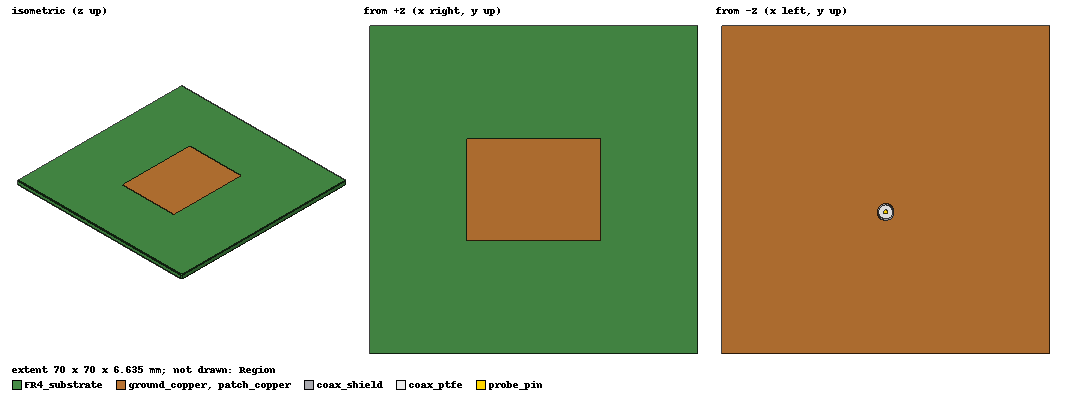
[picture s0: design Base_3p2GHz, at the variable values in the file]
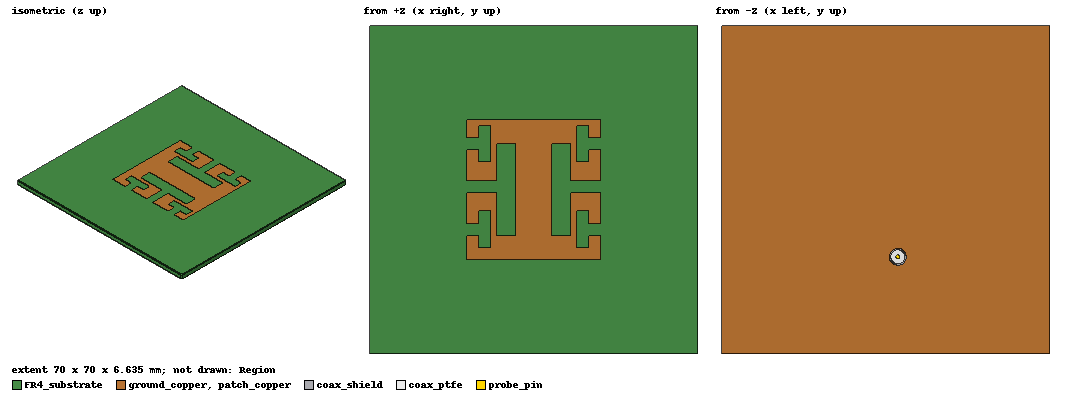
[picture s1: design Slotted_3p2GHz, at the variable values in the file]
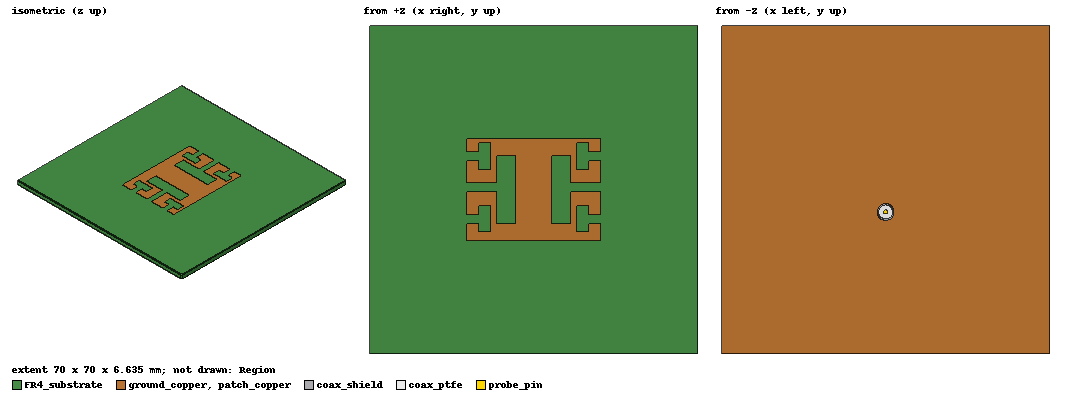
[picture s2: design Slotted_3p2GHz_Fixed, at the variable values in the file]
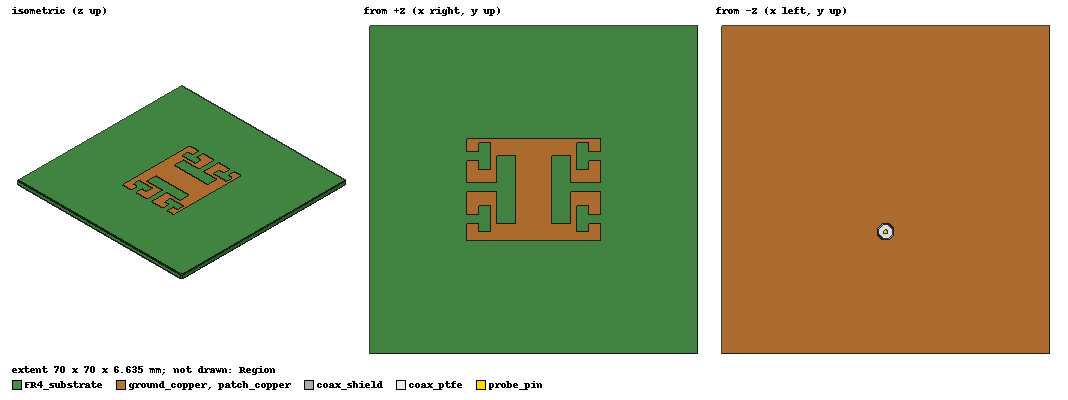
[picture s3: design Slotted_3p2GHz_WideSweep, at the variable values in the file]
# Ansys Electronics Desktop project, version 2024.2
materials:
  vacuum: permittivity=1
  FR4_4p3: permittivity=4.3 dielectric_loss_tangent=0.019
  pec: conductivity=1e+30
  Teflon (tm): permittivity=2.1 dielectric_loss_tangent=0.001

design Base_3p2GHz (HFSS, HFSS Hybrid Modal Network, model units mm)
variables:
  patch_W = 28.7mm  # patch width (x), paper's design equation for 3.2 GHz
  patch_L = 21.95mm  # patch length (y), paper's design equation for 3.2 GHz
  feed_in = 6.2mm  # probe distance from the radiating (bottom) edge (swept)
  feed_X = 0mm  # probe x (0 = centre line)
  feed_Y = -patch_L/2+feed_in  # probe y
  board_W = 70mm  # FR4 and ground width (x)
  board_L = 70mm  # FR4 and ground length (y)
  sub_H = 1.6mm  # FR4 thickness
  cu_T = 0.035mm  # copper thickness (assumed)
  pin_D = 0.9mm  # probe pin diameter (assumed)
  ptfe_D = 3mm  # coax dielectric diameter (assumed, about 50 ohm)
  shield_D = 3.6mm  # coax outer conductor diameter (assumed)
  coax_L = 5mm  # coax stub length below the ground
  air_pad = 25mm  # air-box padding (about lambda/4 at 3 GHz)
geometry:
  FR4_substrate [FR4_4p3] = box(corner=(-board_W/2, -board_L/2, 0mm), size=(board_W, board_L, sub_H))
  ground_copper [pec] = box(corner=(-board_W/2, -board_L/2, -cu_T), size=(board_W, board_L, cu_T))
  patch_copper [pec] = box(corner=(-patch_W/2, -patch_L/2, sub_H), size=(patch_W, patch_L, cu_T))
  probe_pin [pec] = cylinder(axis=Z, base_centre=(feed_X, feed_Y, -coax_L), radius=pin_D/2, height=coax_L+sub_H)
  coax_ptfe [Teflon (tm)] = cylinder(axis=Z, base_centre=(feed_X, feed_Y, -coax_L), radius=ptfe_D/2, height=coax_L)
  coax_shield [pec] = cylinder(axis=Z, base_centre=(feed_X, feed_Y, -coax_L), radius=shield_D/2, height=coax_L-cu_T)
  coax_ptfe_1 = coax_ptfe.copy()
  ground_copper.subtract(coax_ptfe_1)
  coax_ptfe_2 = coax_ptfe.copy()
  coax_shield.subtract(coax_ptfe_2)
  probe_pin_1 = probe_pin.copy()
  coax_ptfe.subtract(probe_pin_1)
  probe_pin_2 = probe_pin.copy()
  FR4_substrate.subtract(probe_pin_2)
  Region [vacuum] = region(absolute_offset: +X=air_pad, -X=air_pad, +Y=air_pad, -Y=air_pad, +Z=air_pad, -Z=0mm)
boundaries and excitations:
  Rad1: Radiation Objects=Region
  P1: Wave Port Faces=coax_ptfe.face(-z end) WavePortType=Modal NumModes=1 Modes{Mode1{CharImp=Zpi RenormImp=50ohm}}
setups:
  Setup1: HfssDriven Frequency=3.2GHz MaxDeltaS=0.02 MaximumPasses=15 MinimumPasses=1 MinimumConvergedPasses=1 PercentRefinement=30 BasisOrder=1 PortAccuracy=2 DrivenSolverType="Direct Solver"
    sweep Sweep: 2.5GHz to 4GHz step 0.005GHz; Type=Interpolating InterpTolerance=0.5 InterpMaxSolns=250 InterpUsePortImped=false PassivityErrorTolerance=0.0001
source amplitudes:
  P1:1: 1W 0deg
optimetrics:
  ParametricSetup1: Parametric Sim._Setups=[Setup1]
    sweep feed_in: LIN 5mm 7.5mm 0.5mm
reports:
  S Parameter Plot 1: dB(S(P1,P1)) vs Freq on Setup1 : Sweep [feed_in=all]; markers m1 at 3.12GHz, m2 at 3.115GHz, m3 at 3.125GHz, m4 at 3.11GHz, m5 at 3.125GHz, m6 at 3.105GHz, MY1 at y=-10.0302

design Slotted_3p2GHz (HFSS, HFSS Hybrid Modal Network, model units mm)
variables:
  cell = 1.3045mm  # mm per mesh cell of Fig. 1 (1.3045mm -> 28.7 x 30 mm patch)
  patch_W = 22*cell  # patch width (x)
  patch_L = 23*cell  # patch length (y)
  bar_W = 6*cell  # central bar between the two big slots
  T1_headW = 3*cell  # big T-slot head width
  T1_headL = 15*cell  # big T-slot head length
  T1_stemW = 2*cell  # big T-slot stem width
  axis_Y = 0.5*cell  # y of the big stems and symmetry axis of the small T-slots
  T2_x = 7*cell  # small T-slot head inner edge, distance from centre line
  T2_headW = 2*cell  # small T-slot head width
  T2_headL = 6*cell  # small T-slot head length
  T2_stemW = 2*cell  # small T-slot stem width
  T2_dY = 7*cell  # small T-slot centre offset from axis_Y (up and down)
  feed_dY = 0mm  # probe shift along +y from the Fig. 1 port (swept)
  feed_X = -2*cell  # probe x (Fig. 1 port cell)
  feed_Y = -11*cell+feed_dY  # probe y (Fig. 1 port is the centre of the bottom mesh row)
  board_W = 70mm  # FR4 and ground width (x)
  board_L = 70mm  # FR4 and ground length (y)
  sub_H = 1.6mm  # FR4 thickness
  cu_T = 0.035mm  # copper thickness (assumed)
  pin_D = 0.9mm  # probe pin diameter (assumed)
  ptfe_D = 3mm  # coax dielectric diameter (assumed, about 50 ohm)
  shield_D = 3.6mm  # coax outer conductor diameter (assumed)
  coax_L = 5mm  # coax stub length below the ground
  air_pad = 25mm  # air-box padding (about lambda/4 at 3 GHz)
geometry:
  FR4_substrate [FR4_4p3] = box(corner=(-board_W/2, -board_L/2, 0mm), size=(board_W, board_L, sub_H))
  ground_copper [pec] = box(corner=(-board_W/2, -board_L/2, -cu_T), size=(board_W, board_L, cu_T))
  patch_copper [pec] = box(corner=(-patch_W/2, -patch_L/2, sub_H), size=(patch_W, patch_L, cu_T))
  probe_pin [pec] = cylinder(axis=Z, base_centre=(feed_X, feed_Y, -coax_L), radius=pin_D/2, height=coax_L+sub_H)
  coax_ptfe [Teflon (tm)] = cylinder(axis=Z, base_centre=(feed_X, feed_Y, -coax_L), radius=ptfe_D/2, height=coax_L)
  coax_shield [pec] = cylinder(axis=Z, base_centre=(feed_X, feed_Y, -coax_L), radius=shield_D/2, height=coax_L-cu_T)
  bigT_L_stem = box(corner=(-patch_W/2, axis_Y-T1_stemW/2, sub_H), size=(patch_W/2-bar_W/2-T1_headW, T1_stemW, cu_T))
  bigT_L_head = box(corner=(-(bar_W/2+T1_headW), -T1_headL/2, sub_H), size=(T1_headW, T1_headL, cu_T))
  bigT_R_stem = box(corner=(bar_W/2+T1_headW, axis_Y-T1_stemW/2, sub_H), size=(patch_W/2-bar_W/2-T1_headW, T1_stemW, cu_T))
  bigT_R_head = box(corner=(bar_W/2, -T1_headL/2, sub_H), size=(T1_headW, T1_headL, cu_T))
  smallT_UL_stem = box(corner=(-patch_W/2, axis_Y+T2_dY-T2_stemW/2, sub_H), size=(patch_W/2-T2_x-T2_headW, T2_stemW, cu_T))
  smallT_UL_head = box(corner=(-(T2_x+T2_headW), axis_Y+T2_dY-T2_headL/2, sub_H), size=(T2_headW, T2_headL, cu_T))
  smallT_UR_stem = box(corner=(T2_x+T2_headW, axis_Y+T2_dY-T2_stemW/2, sub_H), size=(patch_W/2-T2_x-T2_headW, T2_stemW, cu_T))
  smallT_UR_head = box(corner=(T2_x, axis_Y+T2_dY-T2_headL/2, sub_H), size=(T2_headW, T2_headL, cu_T))
  smallT_LL_stem = box(corner=(-patch_W/2, axis_Y-T2_dY-T2_stemW/2, sub_H), size=(patch_W/2-T2_x-T2_headW, T2_stemW, cu_T))
  smallT_LL_head = box(corner=(-(T2_x+T2_headW), axis_Y-T2_dY-T2_headL/2, sub_H), size=(T2_headW, T2_headL, cu_T))
  smallT_LR_stem = box(corner=(T2_x+T2_headW, axis_Y-T2_dY-T2_stemW/2, sub_H), size=(patch_W/2-T2_x-T2_headW, T2_stemW, cu_T))
  smallT_LR_head = box(corner=(T2_x, axis_Y-T2_dY-T2_headL/2, sub_H), size=(T2_headW, T2_headL, cu_T))
  coax_ptfe_1 = coax_ptfe.copy()
  ground_copper.subtract(coax_ptfe_1)
  coax_ptfe_2 = coax_ptfe.copy()
  coax_shield.subtract(coax_ptfe_2)
  probe_pin_1 = probe_pin.copy()
  coax_ptfe.subtract(probe_pin_1)
  probe_pin_2 = probe_pin.copy()
  FR4_substrate.subtract(probe_pin_2)
  patch_copper.subtract(bigT_L_stem, bigT_L_head, bigT_R_stem, bigT_R_head, smallT_UL_stem, smallT_UL_head, smallT_UR_stem, smallT_UR_head, smallT_LL_stem, smallT_LL_head, smallT_LR_stem, smallT_LR_head)
  Region [vacuum] = region(absolute_offset: +X=air_pad, -X=air_pad, +Y=air_pad, -Y=air_pad, +Z=air_pad, -Z=0mm)
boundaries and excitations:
  Rad1: Radiation Objects=Region
  P1: Wave Port Faces=coax_ptfe.face(-z end) WavePortType=Modal NumModes=1 Modes{Mode1{CharImp=Zpi RenormImp=50ohm}}
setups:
  Setup1: HfssDriven Frequency=3.2GHz MaxDeltaS=0.02 MaximumPasses=15 MinimumPasses=1 MinimumConvergedPasses=1 PercentRefinement=30 BasisOrder=1 PortAccuracy=2 DrivenSolverType="Direct Solver"
    sweep Sweep: 1GHz to 5GHz step 0.01GHz; Type=Interpolating InterpTolerance=0.5 InterpMaxSolns=250 InterpUsePortImped=false PassivityErrorTolerance=0.0001
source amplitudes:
  P1:1: 1W 0deg
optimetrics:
  ParametricSetup1: Parametric Sim._Setups=[Setup1]
    sweep feed_dY: LIN 0mm 10mm 2mm
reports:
  S Parameter Plot 1: ; markers MY1 at y=-10.0452
  S Parameter Plot 2: dB(S(P1,P1)) vs Freq on Setup1 : Sweep [feed_dY=all]
  S Parameter Plot 3: dB(S(P1,P1)) vs Freq on Setup1 : Sweep [feed_dY=all]; markers MY1 at y=-10
  S Parameter Plot 4: dB(S(P1,P1)) vs Freq on Setup1 : Sweep [feed_dY=all]; markers MY1 at y=-10.0905

design Slotted_3p2GHz_Fixed (HFSS, HFSS Hybrid Modal Network, model units mm)
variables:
  cell_X = 28.7mm/22  # X grid unit to match 28.7mm width
  cell_Y = 21.95mm/23  # Y grid unit to match 21.95mm length
  patch_W = 28.7mm  # patch width (x)
  patch_L = 21.95mm  # patch length (y)
  bar_W = 6*cell_X  # central bar between the two big slots
  T1_headW = 3*cell_X  # big T-slot head width
  T1_headL = 15*cell_Y  # big T-slot head length
  T1_stemW = 2*cell_Y  # big T-slot stem width
  axis_Y = 0.5*cell_Y  # y of the big stems and symmetry axis of the small T-slots
  T2_x = 7*cell_X  # small T-slot head inner edge, distance from centre line
  T2_headW = 2*cell_X  # small T-slot head width
  T2_headL = 6*cell_Y  # small T-slot head length
  T2_stemW = 2*cell_Y  # small T-slot stem width
  T2_dY = 7*cell_Y  # small T-slot centre offset from axis_Y
  feed_in = 6.2mm  # probe distance from the radiating edge (swept)
  feed_X = 0mm  # probe x (centered, identical to baseline)
  feed_Y = -patch_L/2+feed_in  # probe y
  board_W = 70mm  # FR4 and ground width (x)
  board_L = 70mm  # FR4 and ground length (y)
  sub_H = 1.6mm  # FR4 thickness
  cu_T = 0.035mm  # copper thickness (assumed)
  pin_D = 0.9mm  # probe pin diameter (assumed)
  ptfe_D = 3mm  # coax dielectric diameter (assumed, about 50 ohm)
  shield_D = 3.6mm  # coax outer conductor diameter (assumed)
  coax_L = 5mm  # coax stub length below the ground
  air_pad = 25mm  # air-box padding (about lambda/4 at 3 GHz)
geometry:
  FR4_substrate [FR4_4p3] = box(corner=(-board_W/2, -board_L/2, 0mm), size=(board_W, board_L, sub_H))
  ground_copper [pec] = box(corner=(-board_W/2, -board_L/2, -cu_T), size=(board_W, board_L, cu_T))
  patch_copper [pec] = box(corner=(-patch_W/2, -patch_L/2, sub_H), size=(patch_W, patch_L, cu_T))
  probe_pin [pec] = cylinder(axis=Z, base_centre=(feed_X, feed_Y, -coax_L), radius=pin_D/2, height=coax_L+sub_H)
  coax_ptfe [Teflon (tm)] = cylinder(axis=Z, base_centre=(feed_X, feed_Y, -coax_L), radius=ptfe_D/2, height=coax_L)
  coax_shield [pec] = cylinder(axis=Z, base_centre=(feed_X, feed_Y, -coax_L), radius=shield_D/2, height=coax_L-cu_T)
  bigT_L_stem = box(corner=(-patch_W/2, axis_Y-T1_stemW/2, sub_H), size=(patch_W/2-bar_W/2-T1_headW, T1_stemW, cu_T))
  bigT_L_head = box(corner=(-(bar_W/2+T1_headW), -T1_headL/2, sub_H), size=(T1_headW, T1_headL, cu_T))
  bigT_R_stem = box(corner=(bar_W/2+T1_headW, axis_Y-T1_stemW/2, sub_H), size=(patch_W/2-bar_W/2-T1_headW, T1_stemW, cu_T))
  bigT_R_head = box(corner=(bar_W/2, -T1_headL/2, sub_H), size=(T1_headW, T1_headL, cu_T))
  smallT_UL_stem = box(corner=(-patch_W/2, axis_Y+T2_dY-T2_stemW/2, sub_H), size=(patch_W/2-T2_x-T2_headW, T2_stemW, cu_T))
  smallT_UL_head = box(corner=(-(T2_x+T2_headW), axis_Y+T2_dY-T2_headL/2, sub_H), size=(T2_headW, T2_headL, cu_T))
  smallT_UR_stem = box(corner=(T2_x+T2_headW, axis_Y+T2_dY-T2_stemW/2, sub_H), size=(patch_W/2-T2_x-T2_headW, T2_stemW, cu_T))
  smallT_UR_head = box(corner=(T2_x, axis_Y+T2_dY-T2_headL/2, sub_H), size=(T2_headW, T2_headL, cu_T))
  smallT_LL_stem = box(corner=(-patch_W/2, axis_Y-T2_dY-T2_stemW/2, sub_H), size=(patch_W/2-T2_x-T2_headW, T2_stemW, cu_T))
  smallT_LL_head = box(corner=(-(T2_x+T2_headW), axis_Y-T2_dY-T2_headL/2, sub_H), size=(T2_headW, T2_headL, cu_T))
  smallT_LR_stem = box(corner=(T2_x+T2_headW, axis_Y-T2_dY-T2_stemW/2, sub_H), size=(patch_W/2-T2_x-T2_headW, T2_stemW, cu_T))
  smallT_LR_head = box(corner=(T2_x, axis_Y-T2_dY-T2_headL/2, sub_H), size=(T2_headW, T2_headL, cu_T))
  coax_ptfe_1 = coax_ptfe.copy()
  ground_copper.subtract(coax_ptfe_1)
  coax_ptfe_2 = coax_ptfe.copy()
  coax_shield.subtract(coax_ptfe_2)
  probe_pin_1 = probe_pin.copy()
  coax_ptfe.subtract(probe_pin_1)
  probe_pin_2 = probe_pin.copy()
  FR4_substrate.subtract(probe_pin_2)
  patch_copper.subtract(bigT_L_stem, bigT_L_head, bigT_R_stem, bigT_R_head, smallT_UL_stem, smallT_UL_head, smallT_UR_stem, smallT_UR_head, smallT_LL_stem, smallT_LL_head, smallT_LR_stem, smallT_LR_head)
  Region [vacuum] = region(absolute_offset: +X=air_pad, -X=air_pad, +Y=air_pad, -Y=air_pad, +Z=air_pad, -Z=0mm)
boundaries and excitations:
  Rad1: Radiation Objects=Region
  P1: Wave Port Faces=coax_ptfe.face(-z end) WavePortType=Modal NumModes=1 Modes{Mode1{CharImp=Zpi RenormImp=50ohm}}
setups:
  Setup1: HfssDriven Frequency=3.2GHz MaxDeltaS=0.02 MaximumPasses=15 MinimumPasses=1 MinimumConvergedPasses=1 PercentRefinement=30 BasisOrder=1 PortAccuracy=2 DrivenSolverType="Direct Solver"
    sweep Sweep: 2.5GHz to 4GHz step 0.005GHz; Type=Interpolating InterpTolerance=0.5 InterpMaxSolns=250 InterpUsePortImped=false PassivityErrorTolerance=0.0001
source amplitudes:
  P1:1: 1W 0deg
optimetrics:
  ParametricSetup1: Parametric Sim._Setups=[Setup1]
    sweep feed_in: LIN 5mm 7.5mm 0.5mm
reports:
  S Parameter Plot 1: dB(S(P1,P1)) vs Freq on Setup1 : Sweep [feed_in=all]; markers m1 at 3.435GHz

design Slotted_3p2GHz_WideSweep (HFSS, HFSS Hybrid Modal Network, model units mm)
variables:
  cell_X = 28.7mm/22  # X grid unit to match 28.7mm width
  cell_Y = 21.95mm/23  # Y grid unit to match 21.95mm length
  patch_W = 28.7mm  # patch width (x)
  patch_L = 21.95mm  # patch length (y)
  bar_W = 6*cell_X  # central bar between the two big slots
  T1_headW = 3*cell_X  # big T-slot head width
  T1_headL = 15*cell_Y  # big T-slot head length
  T1_stemW = 2*cell_Y  # big T-slot stem width
  axis_Y = 0.5*cell_Y  # y of the big stems and symmetry axis of the small T-slots
  T2_x = 7*cell_X  # small T-slot head inner edge, distance from centre line
  T2_headW = 2*cell_X  # small T-slot head width
  T2_headL = 6*cell_Y  # small T-slot head length
  T2_stemW = 2*cell_Y  # small T-slot stem width
  T2_dY = 7*cell_Y  # small T-slot centre offset from axis_Y
  feed_in = 2mm  # probe distance from the radiating edge (swept)
  feed_X = 0mm  # probe x (centered, identical to baseline)
  feed_Y = -patch_L/2+feed_in  # probe y
  board_W = 70mm  # FR4 and ground width (x)
  board_L = 70mm  # FR4 and ground length (y)
  sub_H = 1.6mm  # FR4 thickness
  cu_T = 0.035mm  # copper thickness (assumed)
  pin_D = 0.9mm  # probe pin diameter (assumed)
  ptfe_D = 3mm  # coax dielectric diameter (assumed, about 50 ohm)
  shield_D = 3.6mm  # coax outer conductor diameter (assumed)
  coax_L = 5mm  # coax stub length below the ground
  air_pad = 25mm  # air-box padding
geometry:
  FR4_substrate [FR4_4p3] = box(corner=(-board_W/2, -board_L/2, 0mm), size=(board_W, board_L, sub_H))
  ground_copper [pec] = box(corner=(-board_W/2, -board_L/2, -cu_T), size=(board_W, board_L, cu_T))
  patch_copper [pec] = box(corner=(-patch_W/2, -patch_L/2, sub_H), size=(patch_W, patch_L, cu_T))
  probe_pin [pec] = cylinder(axis=Z, base_centre=(feed_X, feed_Y, -coax_L), radius=pin_D/2, height=coax_L+sub_H)
  coax_ptfe [Teflon (tm)] = cylinder(axis=Z, base_centre=(feed_X, feed_Y, -coax_L), radius=ptfe_D/2, height=coax_L)
  coax_shield [pec] = cylinder(axis=Z, base_centre=(feed_X, feed_Y, -coax_L), radius=shield_D/2, height=coax_L-cu_T)
  bigT_L_stem = box(corner=(-patch_W/2, axis_Y-T1_stemW/2, sub_H), size=(patch_W/2-bar_W/2-T1_headW, T1_stemW, cu_T))
  bigT_L_head = box(corner=(-(bar_W/2+T1_headW), -T1_headL/2, sub_H), size=(T1_headW, T1_headL, cu_T))
  bigT_R_stem = box(corner=(bar_W/2+T1_headW, axis_Y-T1_stemW/2, sub_H), size=(patch_W/2-bar_W/2-T1_headW, T1_stemW, cu_T))
  bigT_R_head = box(corner=(bar_W/2, -T1_headL/2, sub_H), size=(T1_headW, T1_headL, cu_T))
  smallT_UL_stem = box(corner=(-patch_W/2, axis_Y+T2_dY-T2_stemW/2, sub_H), size=(patch_W/2-T2_x-T2_headW, T2_stemW, cu_T))
  smallT_UL_head = box(corner=(-(T2_x+T2_headW), axis_Y+T2_dY-T2_headL/2, sub_H), size=(T2_headW, T2_headL, cu_T))
  smallT_UR_stem = box(corner=(T2_x+T2_headW, axis_Y+T2_dY-T2_stemW/2, sub_H), size=(patch_W/2-T2_x-T2_headW, T2_stemW, cu_T))
  smallT_UR_head = box(corner=(T2_x, axis_Y+T2_dY-T2_headL/2, sub_H), size=(T2_headW, T2_headL, cu_T))
  smallT_LL_stem = box(corner=(-patch_W/2, axis_Y-T2_dY-T2_stemW/2, sub_H), size=(patch_W/2-T2_x-T2_headW, T2_stemW, cu_T))
  smallT_LL_head = box(corner=(-(T2_x+T2_headW), axis_Y-T2_dY-T2_headL/2, sub_H), size=(T2_headW, T2_headL, cu_T))
  smallT_LR_stem = box(corner=(T2_x+T2_headW, axis_Y-T2_dY-T2_stemW/2, sub_H), size=(patch_W/2-T2_x-T2_headW, T2_stemW, cu_T))
  smallT_LR_head = box(corner=(T2_x, axis_Y-T2_dY-T2_headL/2, sub_H), size=(T2_headW, T2_headL, cu_T))
  coax_ptfe_1 = coax_ptfe.copy()
  ground_copper.subtract(coax_ptfe_1)
  coax_ptfe_2 = coax_ptfe.copy()
  coax_shield.subtract(coax_ptfe_2)
  probe_pin_1 = probe_pin.copy()
  coax_ptfe.subtract(probe_pin_1)
  probe_pin_2 = probe_pin.copy()
  FR4_substrate.subtract(probe_pin_2)
  patch_copper.subtract(bigT_L_stem, bigT_L_head, bigT_R_stem, bigT_R_head, smallT_UL_stem, smallT_UL_head, smallT_UR_stem, smallT_UR_head, smallT_LL_stem, smallT_LL_head, smallT_LR_stem, smallT_LR_head)
  Region [vacuum] = region(absolute_offset: +X=air_pad, -X=air_pad, +Y=air_pad, -Y=air_pad, +Z=air_pad, -Z=0mm)
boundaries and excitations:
  Rad1: Radiation Objects=Region
  P1: Wave Port Faces=coax_ptfe.face(-z end) WavePortType=Modal NumModes=1 Modes{Mode1{CharImp=Zpi RenormImp=50ohm}}
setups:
  Setup1: HfssDriven Frequency=3.2GHz MaxDeltaS=0.02 MaximumPasses=15 MinimumPasses=1 MinimumConvergedPasses=1 PercentRefinement=30 BasisOrder=1 PortAccuracy=2 DrivenSolverType="Direct Solver"
    sweep Sweep: 2.5GHz to 4.5GHz step 0.01GHz; Type=Interpolating InterpTolerance=0.5 InterpMaxSolns=250 InterpUsePortImped=false PassivityErrorTolerance=0.0001
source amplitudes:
  P1:1: 1W 0deg
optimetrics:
  ParametricSetup1: Parametric Sim._Setups=[Setup1]
    sweep feed_in: LIN 1mm 10mm 1mm
